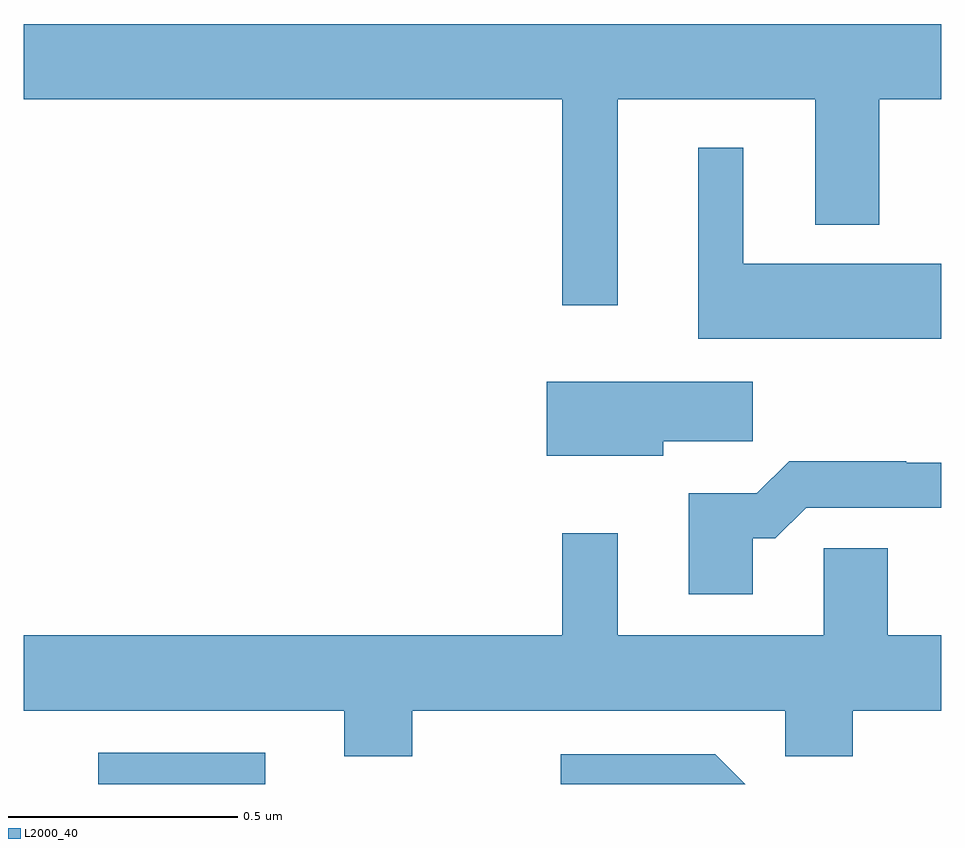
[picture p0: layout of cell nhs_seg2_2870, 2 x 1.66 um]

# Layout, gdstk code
import gdstk
lib = gdstk.Library(unit=1e-6, precision=1e-09)
def R(c, l, rs):  # rectangles x0, y0, x1, y1
    for r in rs: c.add(gdstk.rectangle(r[:2], r[2:], *l))
def P(c, l, *ps):  # polygons
    for p in ps: c.add(gdstk.Polygon(p, *l))
L2000_40 = (2000, 40)

nhs_seg2_2870 = lib.new_cell('nhs_seg2_2870')
R(nhs_seg2_2870, L2000_40, [(146.163,656.8,146.527,656.868)])
P(nhs_seg2_2870, L2000_40, [(147.295,658.292),(147.725,658.292),(147.725,658.019),(147.865,658.019),(147.865,658.292),(148,658.292),(148,658.456),(146,658.456),(146,658.292),(147.174,658.292),(147.174,657.843),(147.295,657.843)],
  [(148,657.934),(147.568,657.934),(147.568,658.186),(147.47,658.186),(147.47,657.77),(148,657.77)],
  [(147.394,657.547),(147.589,657.547),(147.589,657.676),(147.14,657.676),(147.14,657.515),(147.394,657.515)],
  [(147.589,657.335),(147.638,657.335),(147.705,657.402),(148,657.402),(148,657.5),(147.923,657.5),(147.923,657.503),(147.668,657.503),(147.598,657.433),(147.449,657.433),(147.449,657.213),(147.589,657.213)],
  [(146,656.96),(146.699,656.96),(146.699,656.861),(146.847,656.861),(146.847,656.96),(147.66,656.96),(147.66,656.861),(147.807,656.861),(147.807,656.96),(148,656.96),(148,657.124),(147.883,657.124),(147.883,657.314),(147.744,657.314),(147.744,657.124),(147.295,657.124),(147.295,657.346),(147.174,657.346),(147.174,657.124),(146,657.124)],
  [(147.507,656.865),(147.171,656.865),(147.171,656.8),(147.572,656.8)])

lib.write_gds('nhs_seg2_2870.gds')
